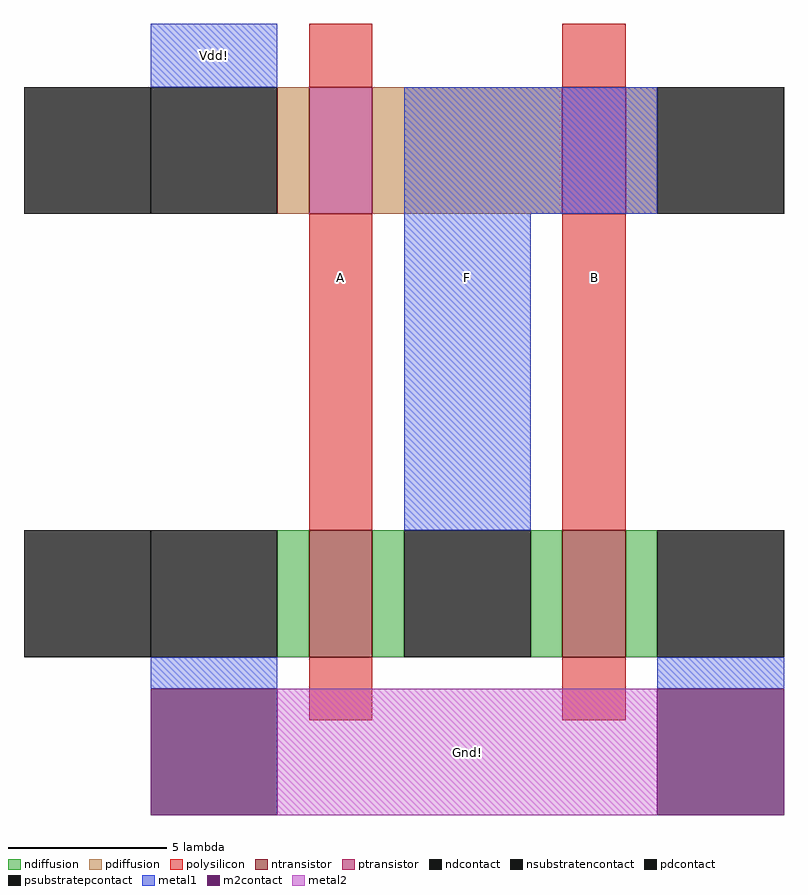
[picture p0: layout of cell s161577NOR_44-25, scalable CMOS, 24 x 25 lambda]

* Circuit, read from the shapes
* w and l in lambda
.subckt s161577NOR_44-25 A B F Gnd! Vdd!
M1 F A Gnd! Gnd! nfet w=4 l=2
M2 Gnd! B F Gnd! nfet w=4 l=2
M3 n1 A Vdd! Vdd! pfet w=4 l=2
M4 F B n1 Vdd! pfet w=4 l=2
.ends

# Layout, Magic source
magic
tech scmos
<< polysilicon >>
rect -7 7 -5 9
rect 1 7 3 9
rect -7 -7 -5 3
rect 1 -7 3 3
rect -7 -13 -5 -11
rect 1 -13 3 -11
<< ndiffusion >>
rect -8 -11 -7 -7
rect -5 -11 -4 -7
rect 0 -11 1 -7
rect 3 -11 4 -7
<< pdiffusion >>
rect -8 3 -7 7
rect -5 3 1 7
rect 3 3 4 7
<< metal1 >>
rect -12 7 -8 9
rect -4 3 4 7
rect -4 -7 0 3
rect -12 -12 -8 -11
rect 4 -12 8 -11
<< metal2 >>
rect -8 -16 4 -12
<< ntransistor >>
rect -7 -11 -5 -7
rect 1 -11 3 -7
<< ptransistor >>
rect -7 3 -5 7
rect 1 3 3 7
<< ndcontact >>
rect -12 -11 -8 -7
rect -4 -11 0 -7
rect 4 -11 8 -7
<< pdcontact >>
rect -12 3 -8 7
rect 4 3 8 7
<< m2contact >>
rect -12 -16 -8 -12
rect 4 -16 8 -12
<< psubstratepcontact >>
rect -16 -11 -12 -7
<< nsubstratencontact >>
rect -16 3 -12 7
<< labels >>
rlabel metal1 -10 8 -10 8 5 Vdd!
rlabel polysilicon -6 1 -6 1 1 A
rlabel polysilicon 2 1 2 1 1 B
rlabel metal1 -2 1 -2 1 1 F
rlabel metal2 -2 -14 -2 -14 1 Gnd!
<< end >>
